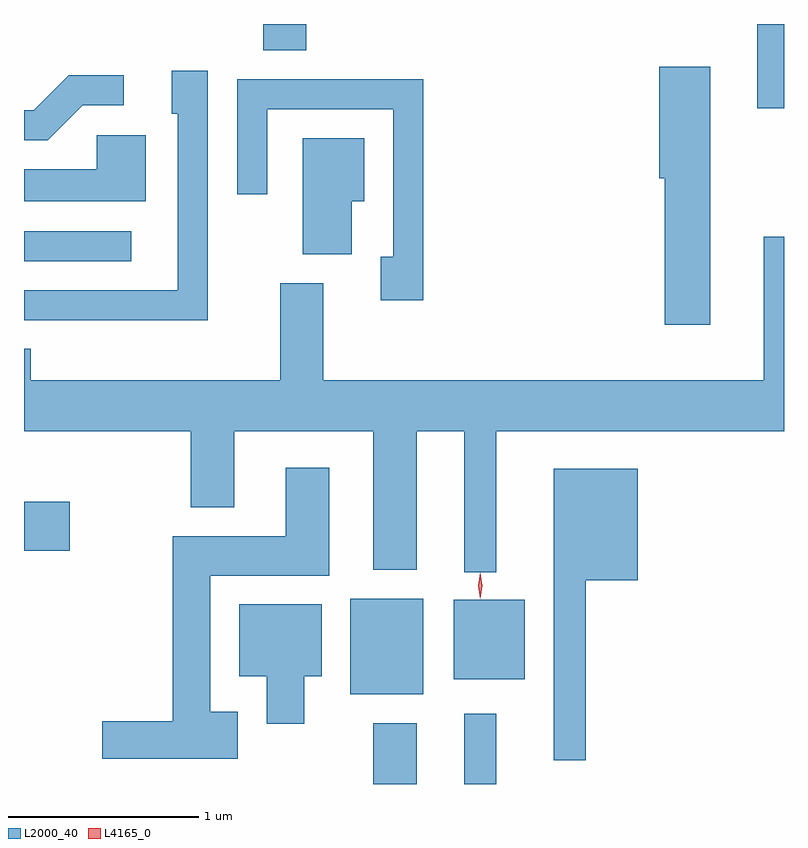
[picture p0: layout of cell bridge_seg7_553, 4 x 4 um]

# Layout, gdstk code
import gdstk
lib = gdstk.Library(unit=1e-6, precision=1e-09)
def R(c, l, rs):  # rectangles x0, y0, x1, y1
    for r in rs: c.add(gdstk.rectangle(r[:2], r[2:], *l))
def P(c, l, *ps):  # polygons
    for p in ps: c.add(gdstk.Polygon(p, *l))
L2000_40 = (2000, 40)
L4165_0 = (4165, 0)

bridge_seg7_553 = lib.new_cell('bridge_seg7_553')
R(bridge_seg7_553, L2000_40, [(981.141,1752.419,981.369,1752.739), (981.621,1752.419,981.789,1752.788), (981.021,1752.891,981.404,1753.394), (981.566,1752.971,981.939,1753.389), (979.303,1753.646,979.544,1753.904), (979.303,1755.171,979.868,1755.329), (983.161,1755.976,983.303,1756.419), (980.561,1756.281,980.789,1756.419)])
P(bridge_seg7_553, L2000_40, [(982.914,1756.194),(982.646,1756.194),(982.646,1755.606),(982.676,1755.606),(982.676,1754.836),(982.914,1754.836)],
  [(980.269,1756.174),(980.081,1756.174),(980.081,1755.946),(980.111,1755.946),(980.111,1755.019),(979.303,1755.019),(979.303,1754.861),(980.269,1754.861)],
  [(979.612,1755.991),(979.828,1755.991),(979.828,1756.149),(979.539,1756.149),(979.354,1755.964),(979.303,1755.964),(979.303,1755.806),(979.427,1755.806)],
  [(981.404,1756.129),(980.426,1756.129),(980.426,1755.523),(980.584,1755.523),(980.584,1755.971),(981.246,1755.971),(981.246,1755.194),(981.181,1755.194),(981.181,1754.966),(981.404,1754.966)],
  [(979.944,1755.834),(979.686,1755.834),(979.686,1755.654),(979.303,1755.654),(979.303,1755.486),(979.944,1755.486)],
  [(981.029,1755.486),(981.094,1755.486),(981.094,1755.819),(980.771,1755.819),(980.771,1755.206),(981.029,1755.206)],
  [(979.303,1754.709),(979.303,1754.276),(980.181,1754.276),(980.181,1753.876),(980.409,1753.876),(980.409,1754.276),(981.141,1754.276),(981.141,1753.546),(981.369,1753.546),(981.369,1754.276),(981.621,1754.276),(981.621,1753.533),(981.789,1753.533),(981.789,1754.276),(983.303,1754.276),(983.303,1755.298),(983.196,1755.298),(983.196,1754.544),(980.879,1754.544),(980.879,1755.054),(980.651,1755.054),(980.651,1754.544),(979.339,1754.544),(979.339,1754.709)],
  [(980.429,1752.799),(980.284,1752.799),(980.284,1753.516),(980.909,1753.516),(980.909,1754.084),(980.681,1754.084),(980.681,1753.724),(980.086,1753.724),(980.086,1752.749),(979.716,1752.749),(979.716,1752.551),(980.429,1752.551)],
  [(982.259,1753.491),(982.534,1753.491),(982.534,1754.079),(982.091,1754.079),(982.091,1752.543),(982.259,1752.543)],
  [(980.779,1752.986),(980.869,1752.986),(980.869,1753.364),(980.436,1753.364),(980.436,1752.986),(980.581,1752.986),(980.581,1752.736),(980.779,1752.736)])
P(bridge_seg7_553, L4165_0, [(981.703,1753.394),(981.694,1753.462),(981.703,1753.53),(981.704,1753.53),(981.704,1753.53),(981.714,1753.462),(981.704,1753.394),(981.704,1753.394)],
  [(981.704,1753.398),(981.703,1753.399),(981.694,1753.463),(981.704,1753.526),(981.705,1753.527),(981.705,1753.526),(981.714,1753.462),(981.704,1753.399)])

lib.write_gds('bridge_seg7_553.gds')
